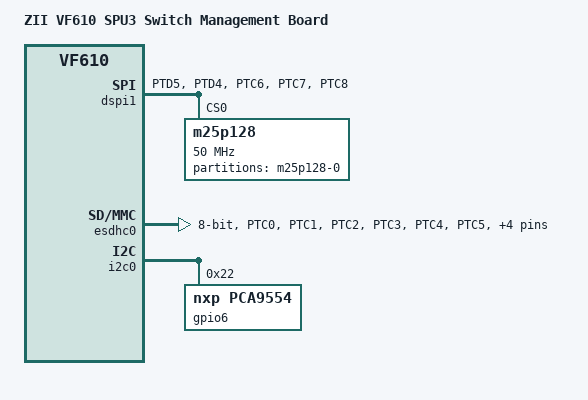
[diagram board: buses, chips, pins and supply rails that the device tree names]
/*
 * Copyright (C) 2015, 2016 Zodiac Inflight Innovations
 *
 * Based on an original 'vf610-twr.dts' which is Copyright 2015,
 * Freescale Semiconductor, Inc.
 *
 * This file is dual-licensed: you can use it either under the terms
 * of the GPL or the X11 license, at your option. Note that this dual
 * licensing only applies to this file, and not this project as a
 * whole.
 *
 *  a) This file is free software; you can redistribute it and/or
 *     modify it under the terms of the GNU General Public License
 *     version 2 as published by the Free Software Foundation.
 *
 *     This file is distributed in the hope that it will be useful
 *     but WITHOUT ANY WARRANTY; without even the implied warranty of
 *     MERCHANTABILITY or FITNESS FOR A PARTICULAR PURPOSE.  See the
 *     GNU General Public License for more details.
 *
 * Or, alternatively
 *
 *  b) Permission is hereby granted, free of charge, to any person
 *     obtaining a copy of this software and associated documentation
 *     files (the "Software"), to deal in the Software without
 *     restriction, including without limitation the rights to use
 *     copy, modify, merge, publish, distribute, sublicense, and/or
 *     sell copies of the Software, and to permit persons to whom the
 *     Software is furnished to do so, subject to the following
 *     conditions:
 *
 *     The above copyright notice and this permission notice shall be
 *     included in all copies or substantial portions of the Software.
 *
 *     THE SOFTWARE IS PROVIDED , WITHOUT WARRANTY OF ANY KIND
 *     EXPRESS OR IMPLIED, INCLUDING BUT NOT LIMITED TO THE WARRANTIES
 *     OF MERCHANTABILITY, FITNESS FOR A PARTICULAR PURPOSE AND
 *     NONINFRINGEMENT. IN NO EVENT SHALL THE AUTHORS OR COPYRIGHT
 *     HOLDERS BE LIABLE FOR ANY CLAIM, DAMAGES OR OTHER LIABILITY
 *     WHETHER IN AN ACTION OF CONTRACT, TORT OR OTHERWISE, ARISING
 *     FROM, OUT OF OR IN CONNECTION WITH THE SOFTWARE OR THE USE OR
 *     OTHER DEALINGS IN THE SOFTWARE.
 */

/dts-v1/;

#include <arm/vf610-zii-dev.dtsi>

#include "vf610-zii-dev.dtsi"

/ {
	model = "ZII VF610 SPU3 Switch Management Board";
	compatible = "zii,vf610spu3-a", "zii,vf610dev", "fsl,vf610";

	aliases {
		/delete-property/ serial2;
	};

	gpio-leds {
                debug {
                        gpios = <&gpio2 18 GPIO_ACTIVE_HIGH>;
		};
	};
};

&dspi1 {
	bus-num = <1>;
	pinctrl-names = "default";
	pinctrl-0 = <&pinctrl_dspi1>;
	status = "okay";

	m25p128@0 {
		#address-cells = <1>;
		#size-cells = <1>;
		compatible = "m25p128", "jedec,spi-nor";
		reg = <0>;
		spi-max-frequency = <50000000>;

		partition@0 {
			label = "m25p128-0";
			reg = <0x0 0x01000000>;
		};
	};
};

&esdhc0 {
	pinctrl-names = "default";
	pinctrl-0 = <&pinctrl_esdhc0>;
	bus-width = <8>;
	status = "okay";
};

&fec0 {
	status = "disabled";
};

&i2c0 {
	/* Board Revision */
	gpio6: pca9505@22 {
		compatible = "nxp,pca9554";
		reg = <0x22>;
		gpio-controller;
		#gpio-cells = <2>;
	};
};

/delete-node/ &i2c1;
/delete-node/ &i2c2;
/delete-node/ &uart2;

&iomuxc {
	pinctrl_dspi1: dspi1grp {
		fsl,pins = <
			VF610_PAD_PTD5__DSPI1_CS0	0x1182
			VF610_PAD_PTD4__DSPI1_CS1	0x1182
			VF610_PAD_PTC6__DSPI1_SIN	0x1181
			VF610_PAD_PTC7__DSPI1_SOUT	0x1182
			VF610_PAD_PTC8__DSPI1_SCK	0x1182
		>;
	};

	pinctrl_esdhc0: esdhc0grp {
		fsl,pins = <
			VF610_PAD_PTC0__ESDHC0_CLK	0x31ef
			VF610_PAD_PTC1__ESDHC0_CMD	0x31ef
			VF610_PAD_PTC2__ESDHC0_DAT0	0x31ef
			VF610_PAD_PTC3__ESDHC0_DAT1	0x31ef
			VF610_PAD_PTC4__ESDHC0_DAT2	0x31ef
			VF610_PAD_PTC5__ESDHC0_DAT3	0x31ef
			VF610_PAD_PTD23__ESDHC0_DAT4	0x31ef
			VF610_PAD_PTD22__ESDHC0_DAT5	0x31ef
			VF610_PAD_PTD21__ESDHC0_DAT6	0x31ef
			VF610_PAD_PTD20__ESDHC0_DAT7	0x31ef
		>;
	};

	pinctrl_leds_debug: pinctrl-leds-debug {
		fsl,pins = <
			VF610_PAD_PTD3__GPIO_82			0x31c2
		>;
	};
};
